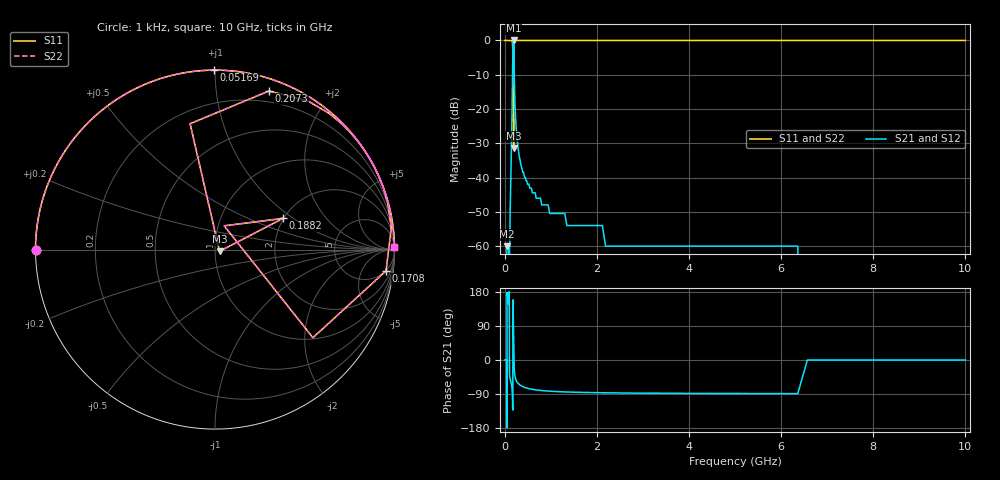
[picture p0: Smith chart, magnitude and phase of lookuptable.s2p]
! RFSim95 S parameter simulation result
# MHz MA
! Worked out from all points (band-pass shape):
!   500 points, 1 kHz to 10 GHz, reference 50 ohm
!   highest |S21| = 0.00 dB at 194.3 MHz (marker M1); lowest = -60.0 dB at 48.46 MHz (marker M2)
!   |S21| within 3 dB of the highest: 177 MHz to 200.5 MHz (23.48 MHz wide, 12.4 % of centre)
!   lowest |S11| = -31.4 dB at 194.3 MHz (marker M3), VSWR 1.06, Z = 52.6 - j1 ohm
!   |S11| at or under -10 dB: 179.4 MHz to 186.6 MHz (7.268 MHz wide, 3.97 % of centre); 188.8 MHz to 199.1 MHz (10.34 MHz wide, 5.33 % of centre)
!   |S22| runs from -31.4 to 0.0 dB; largest |S21 - S12| = 0
!   S11 on the Smith chart (normalised r, x): 1 kHz: 0.00, +0.00; 51.69 MHz: 0.00, +0.99; 170.8 MHz: 5, -15; 188.2 MHz: 1.99, +0.84; 207.3 MHz: 0.10, +1.39; 10 GHz: open
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0.001  1 180.0  0 -90.0  0 -90.0  1 180.0
0.015078  1 180.0  0 -90.0  0 -90.0  1 180.0
0.220133  1 179.5  0 -90.5  0 -90.5  1 179.5
3.213764  1 173.1  0 -96.9  0 -96.9  1 173.1
16.15909  1 146.1  0 -123.9  0 -123.9  1 146.1
43.98318  1 99.9  0 -170.1  0 -170.1  1 99.9
46.91835  1 96.2  0 -173.8  0 -173.8  1 96.2
48.45859  1 94.3  0.001 -175.7  0.001 -175.7  1 94.3
51.69242  1 90.4  0.001 -179.6  0.001 -179.6  1 90.4
86.67139  1 59.8  0.001 149.8  0.001 149.8  1 59.8
101.8629  1 50.6  0 140.6  0 140.6  1 50.6
170.791  0.96 -7.1  0.281 -97.1  0.281 -97.1  0.96 -7.1
188.1694  0.417 24.6  0.909 114.6  0.909 114.6  0.417 24.6
194.3467  0.027 -20.6  1 69.4  1 69.4  0.027 -20.6
207.3162  0.933 71.2  0.36 -18.8  0.36 -18.8  0.933 71.2
214.122  0.977 57.7  0.213 -32.3  0.213 -32.3  0.977 57.7
295.7617  1 28.1  0.026 -61.9  0.026 -61.9  1 28.1
684.9697  1 11.0  0.005 -79.0  0.005 -79.0  1 11.0
2337.424  1 3.2  0.001 -86.8  0.001 -86.8  1 3.2
5964.185  1 1.3  0.001 -88.7  0.001 -88.7  1 1.3
7009.57  1 1.1  0 -88.9  0 -88.9  1 1.1
10000  1 0.7  0 -89.3  0 -89.3  1 0.7
